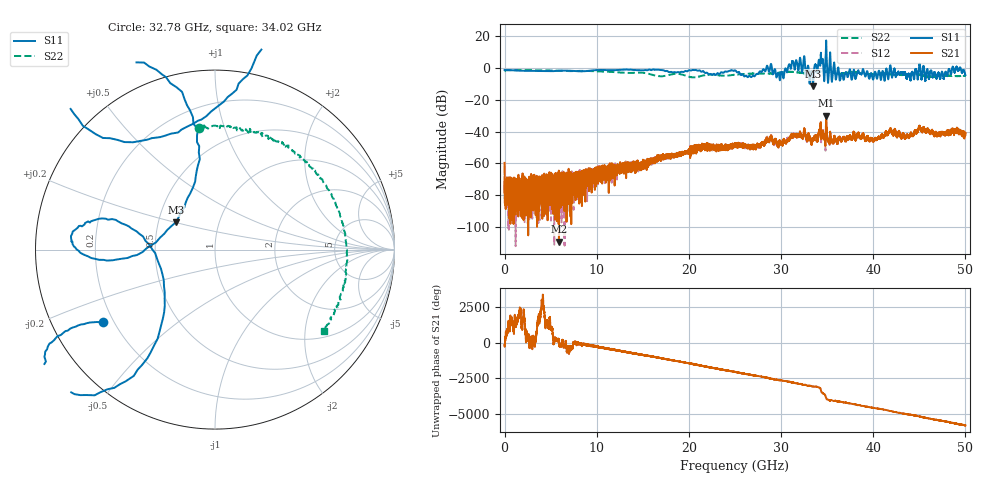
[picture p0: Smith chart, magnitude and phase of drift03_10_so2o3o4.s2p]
!Created with skrf (http://scikit-rf.org).
# Hz S RI R 50.0
!freq ReS11 ImS11 ReS21 ImS21 ReS12 ImS12 ReS22 ImS22
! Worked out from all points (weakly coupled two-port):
!   10001 points, 300 kHz to 50 GHz, reference 50 ohm
!   highest |S21| = -29.93 dB at 34.9 GHz (marker M1); lowest = -109.4 dB at 5.895 GHz (marker M2)
!   lowest |S11| = -11.5 dB at 33.47 GHz (marker M3), VSWR 1.72, Z = 30.9 + j10.2 ohm
!   |S11| at or under -10 dB: 33.44408 GHz to 33.48719 GHz (43.11 MHz wide, 0.129 % of centre)
!   |S22| runs from -5.9 to -1.3 dB; largest |S21 - S12| = 0.0069
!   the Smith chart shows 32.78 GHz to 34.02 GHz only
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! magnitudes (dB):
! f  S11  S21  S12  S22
! 300 kHz  -1.3  -59.7  -61.8  -2.1
! 310.3 MHz  -1.3  -83.5  -77.7  -1.4
! 5.895 GHz  -1.8  -109.4  -73.1  -1.8
! 8.335 GHz  -2.2  -68.0  -69.3  -1.9
! 16.67 GHz  -1.1  -55.3  -56.6  -5.2
! 25 GHz  -1.6  -47.2  -47.9  -4.3
! 26.92 GHz  -4.9  -50.2  -49.6  -3.6
! 28.73 GHz  -2.3  -46.0  -47.0  -3.5
! 30.06 GHz  -2.5  -47.9  -47.8  -2.8
! 31.87 GHz  -1.6  -43.2  -41.8  -2.9
! 33.34 GHz  -2.2  -48.2  -47.3  -2.9
! 33.47 GHz  -11.5  -44.6  -44.5  -2.8
! 34.29 GHz  5.4  -34.8  -35.5  -2.3
! 34.9 GHz  17.3  -29.9  -31.6  -2.4
! 36.58 GHz  -3.6  -46.2  -46.0  -3.5
! 40.16 GHz  -2.8  -44.5  -43.9  -3.8
! 41.67 GHz  -5.9  -41.3  -40.6  -3.7
! 43.67 GHz  -6.6  -41.6  -42.7  -4.0
! 45.21 GHz  -5.9  -38.7  -39.2  -4.6
! 47.07 GHz  -2.8  -42.3  -40.8  -5.1
! 49.22 GHz  -1.9  -39.3  -38.8  -5.1
! 50 GHz  -4.5  -40.8  -42.1  -5.0
